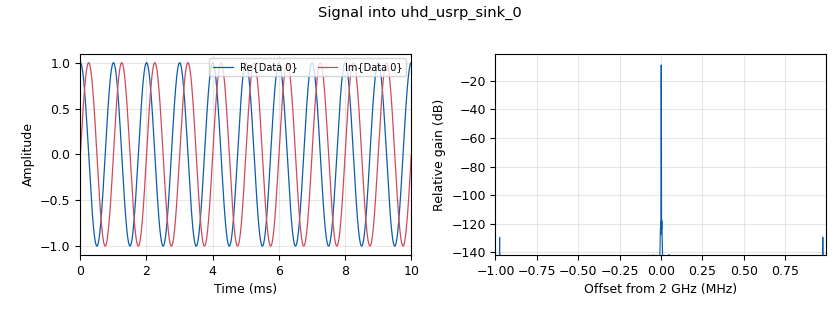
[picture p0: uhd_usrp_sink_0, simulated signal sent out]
options:
  parameters:
    generate_options: qt_gui
    id: sin_wave_ext_clock
    output_language: python
    title: Not titled yet
  states: {}

blocks:
- name: samp_rate
  id: variable
  parameters:
    value: 2e6
  states: {}
- name: analog_sig_source_x_0
  id: analog_sig_source_x
  parameters:
    amp: '1'
    freq: '1000'
    offset: '0'
    phase: '0'
    samp_rate: samp_rate
    type: complex
    waveform: analog.GR_SIN_WAVE
  states: {}
- name: qtgui_sink_x_0
  id: qtgui_sink_x
  parameters:
    bw: samp_rate
    fc: '0'
    fftsize: '16384'
    type: complex
  states: {}
- name: uhd_usrp_sink_0
  id: uhd_usrp_sink
  parameters:
    ant0: '"TX/RX"'
    bw0: 2e6
    center_freq0: 2e9
    clock_source0: external
    dev_addr: '"serial = 316405A"'
    gain0: '0.8'
    gain_type0: normalized
    samp_rate: samp_rate
    sync: sync
    type: fc32
  states: {}
- name: uhd_usrp_source_0
  id: uhd_usrp_source
  parameters:
    ant0: '"TX/RX"'
    bw0: samp_rate
    center_freq0: 2e9
    clock_source0: external
    dev_addr: '"serial=316407B"'
    gain0: '0.7'
    gain_type0: normalized
    samp_rate: samp_rate
    sync: sync
    type: fc32
  states: {}

connections:
- [analog_sig_source_x_0, '0', uhd_usrp_sink_0, '0']
- [uhd_usrp_source_0, '0', qtgui_sink_x_0, '0']

metadata:
  file_format: 1
  grc_version: 3.10.9.2
